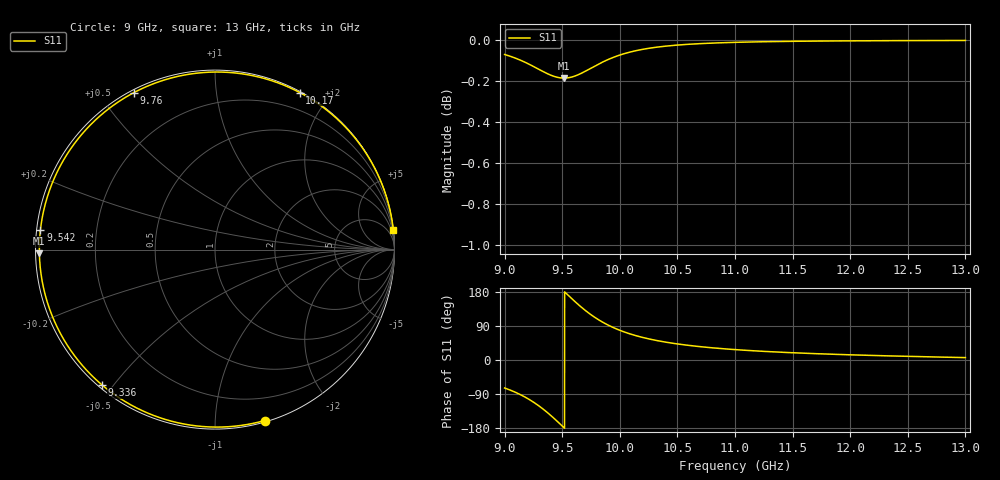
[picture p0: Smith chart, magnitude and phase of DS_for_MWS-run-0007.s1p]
! TOUCHSTONE file generated by CST DESIGN STUDIO
! Date and time: Tue Feb  4 16:02:49 2025
! Project name: C:\Work\MatlabApps\UnitCellOptimizationMatlab\CST\unitcell.cst
! Tree item: Tasks\Sweep1\SPara1\S-Parameters
! Header version: 2024
! Port assignment regex: !\s*Touchstone port\s*([0-9]+)\s*=\s*(CST MWS port|CST DES external port|CST DES block port)\s*(.+)\s* \(\"(.*)\"\)(\s*mode\s*([0-9]+))?.*
! Touchstone port assignment:
! Touchstone port 1 = CST DES external port 1 ("")
# GHz S MA R 50
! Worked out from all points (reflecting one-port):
!   4001 points, 9 GHz to 13 GHz, reference 50 ohm
!   lowest |S11| = -0.2 dB at 9.516 GHz (marker M1), VSWR 92.98, Z = 0.538 - j0.524 ohm
!   phase of S11 starts at -74 deg and turns -280 deg over the sweep
!   S11 on the Smith chart (normalised r, x): 9 GHz: 0.01, -1.33; 9.336 GHz: 0.01, -0.47; 9.542 GHz: 0.01, +0.06; 9.76 GHz: 0.01, +0.61; 10.17 GHz: 0.01, +1.68; 13 GHz: 0, +18
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9  0.9917 -73.8
9.091  0.9898 -84.8
9.195  0.9869 -100.8
9.269  0.9845 -115.0
9.336  0.9822 -129.9
9.381  0.9809 -141.1
9.427  0.9797 -153.4
9.464  0.9791 -163.8
9.5  0.9788 -174.2
9.516  0.9787 -178.8
9.542  0.9788 173.7
9.596  0.9795 158.2
9.657  0.9811 141.7
9.708  0.9827 129.0
9.76  0.9845 117.3
9.81  0.9862 107.2
9.865  0.988 97.5
10  0.9914 78.4
10.082  0.993 69.5
10.171  0.9943 61.6
10.321  0.9958 51.3
10.5  0.997 42.4
10.722  0.9979 34.5
11  0.9985 27.4
11.5  0.9991 19.1
12  0.9993 13.7
12.5  0.9995 9.6
13  0.9996 6.3
